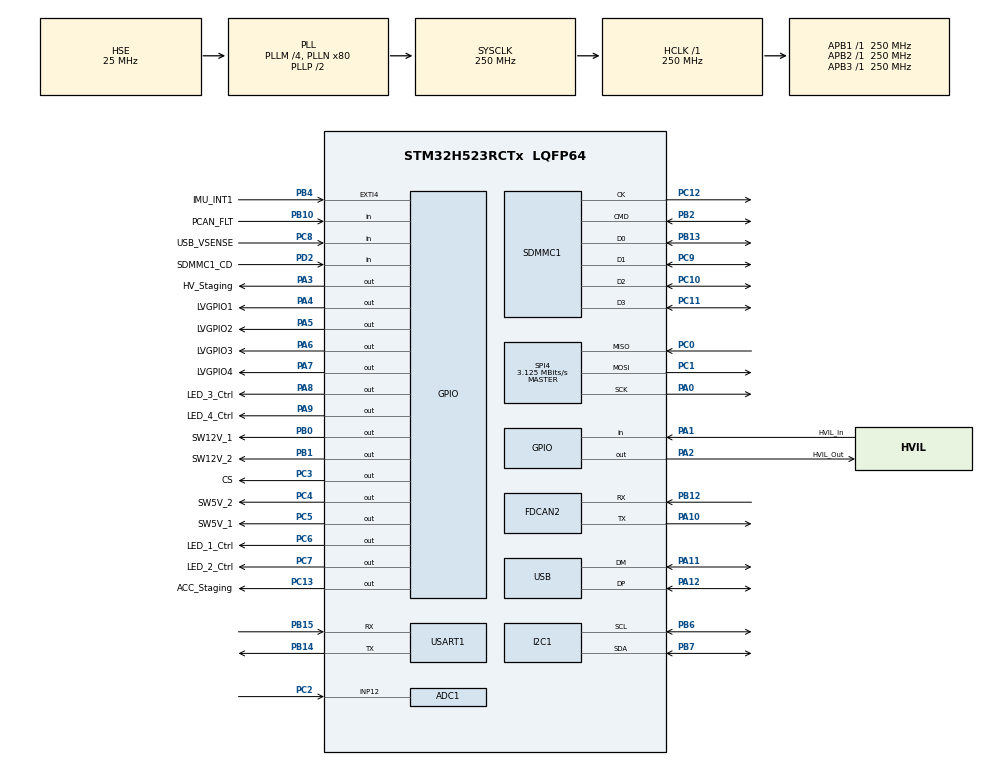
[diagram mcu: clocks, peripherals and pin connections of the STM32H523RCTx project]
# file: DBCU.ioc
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ADC1.Channel-0\#ChannelRegularConversion=ADC_CHANNEL_12
ADC1.MonitoredBy-0\#ChannelRegularConversion=__NULL
ADC1.NbrOfConversionFlag=1
ADC1.OffsetNumber-0\#ChannelRegularConversion=ADC_OFFSET_NONE
ADC1.Rank-0\#ChannelRegularConversion=1
ADC1.SamplingTime-0\#ChannelRegularConversion=ADC_SAMPLETIME_2CYCLES_5
ADC1.master=1
BOOTPATH.BootPathName=LEGACY
BOOTPATH.UserSelectedBootPath=LEGACY
CORTEX_M33_NS.userName=CORTEX_M33
FDCAN2.CalculateBaudRateNominal=500000
FDCAN2.CalculateTimeBitNominal=2000
FDCAN2.CalculateTimeQuantumNominal=200.0
FDCAN2.NominalPrescaler=25
FDCAN2.NominalTimeSeg1=8
FILEX.FX_SD_INTERFACE=1
FILEX.GLUE_FUNCTIONS=DMA_API
I2C1.Timing=0x60808CD3
Mcu.Family=STM32H5
Mcu.Name=STM32H523RCTx
Mcu.Package=LQFP64
NVIC.PriorityGroup=NVIC_PRIORITYGROUP_4
NVIC.SDMMC1_IRQn=true\:0\:0\:false\:false\:true\:true\:true\:true
PA0.Mode=Full_Duplex_Master
PA0.Signal=SPI4_SCK
PA1.GPIO_Label=HVIL_In
PA1.Signal=GPIO_Input
PA10.Mode=FDCAN_Activate
PA10.Signal=FDCAN2_TX
PA11.Mode=Device
PA11.Signal=USB_DM
PA12.Mode=Device
PA12.Signal=USB_DP
PA13(JTMS/SWDIO).Mode=Trace_Asynchronous_SW
PA13(JTMS/SWDIO).Signal=DEBUG_JTMS-SWDIO
PA14(JTCK/SWCLK).Mode=Trace_Asynchronous_SW
PA14(JTCK/SWCLK).Signal=DEBUG_JTCK-SWCLK
PA2.GPIO_Label=HVIL_Out
PA2.Signal=GPIO_Output
PA3.GPIO_Label=HV_Staging
PA3.Signal=GPIO_Output
PA4.GPIO_Label=LVGPIO1
PA4.GPIO_ModeDefaultOutputPP=GPIO_MODE_OUTPUT_OD
PA4.GPIO_PuPd=GPIO_PULLUP
PA4.Signal=GPIO_Output
PA5.GPIO_Label=LVGPIO2
PA5.GPIO_ModeDefaultOutputPP=GPIO_MODE_OUTPUT_OD
PA5.GPIO_PuPd=GPIO_PULLUP
PA5.Signal=GPIO_Output
PA6.GPIO_Label=LVGPIO3
PA6.GPIO_ModeDefaultOutputPP=GPIO_MODE_OUTPUT_OD
PA6.GPIO_PuPd=GPIO_PULLUP
PA6.Signal=GPIO_Output
PA7.GPIO_Label=LVGPIO4
PA7.GPIO_ModeDefaultOutputPP=GPIO_MODE_OUTPUT_OD
PA7.GPIO_PuPd=GPIO_PULLUP
PA7.Signal=GPIO_Output
PA8.GPIO_Label=LED_3_Ctrl
PA8.Signal=GPIO_Output
PA9.GPIO_Label=LED_4_Ctrl
PA9.Signal=GPIO_Output
PB0.GPIO_Label=SW12V_1
PB0.Signal=GPIO_Output
PB1.GPIO_Label=SW12V_2
PB1.Signal=GPIO_Output
PB10.GPIO_Label=PCAN_FLT
PB10.Signal=GPIO_Input
PB12.Mode=FDCAN_Activate
PB12.Signal=FDCAN2_RX
PB13.Mode=SD_4_bits_Wide_bus
PB13.Signal=SDMMC1_D0
PB14.Mode=Asynchronous
PB14.Signal=USART1_TX
PB15.Mode=Asynchronous
PB15.Signal=USART1_RX
PB2.Mode=SD_4_bits_Wide_bus
PB2.Signal=SDMMC1_CMD
PB3(JTDO/TRACESWO).Mode=Trace_Asynchronous_SW
PB3(JTDO/TRACESWO).Signal=DEBUG_JTDO-SWO
PB4(NJTRST).GPIO_Label=IMU_INT1
PB4(NJTRST).Signal=GPXTI4
PB5.GPIO_Label=IMU_INT2
PB5.Signal=EVENTOUT
PB6.Mode=I2C
PB6.Signal=I2C1_SCL
PB7.Mode=I2C
PB7.Signal=I2C1_SDA
PC0.Mode=Full_Duplex_Master
PC0.Signal=SPI4_MISO
PC1.Mode=Full_Duplex_Master
PC1.Signal=SPI4_MOSI
PC10.Mode=SD_4_bits_Wide_bus
PC10.Signal=SDMMC1_D2
PC11.Mode=SD_4_bits_Wide_bus
PC11.Signal=SDMMC1_D3
PC12.Mode=SD_4_bits_Wide_bus
PC12.Signal=SDMMC1_CK
PC13.GPIO_Label=ACC_Staging
PC13.Signal=GPIO_Output
PC14-OSC32_IN(OSC32_IN).Mode=LSE-External-Oscillator
PC14-OSC32_IN(OSC32_IN).Signal=RCC_OSC32_IN
PC15-OSC32_OUT(OSC32_OUT).Mode=LSE-External-Oscillator
PC15-OSC32_OUT(OSC32_OUT).Signal=RCC_OSC32_OUT
PC2.Signal=ADCx_INP12
PC3.GPIO_Label=CS
PC3.Signal=GPIO_Output
PC4.GPIO_Label=SW5V_2
PC4.Signal=GPIO_Output
PC5.GPIO_Label=SW5V_1
PC5.Signal=GPIO_Output
PC6.GPIO_Label=LED_1_Ctrl
PC6.Signal=GPIO_Output
PC7.GPIO_Label=LED_2_Ctrl
PC7.Signal=GPIO_Output
PC8.GPIO_Label=USB_VSENSE
PC8.Signal=GPIO_Input
PC9.Mode=SD_4_bits_Wide_bus
PC9.Signal=SDMMC1_D1
PD2.GPIO_Label=SDMMC1_CD
PD2.Signal=GPIO_Input
PH0-OSC_IN(PH0).Mode=HSE-External-Oscillator
PH0-OSC_IN(PH0).Signal=RCC_OSC_IN
PH1-OSC_OUT(PH1).Mode=HSE-External-Oscillator
PH1-OSC_OUT(PH1).Signal=RCC_OSC_OUT
ProjectManager.HeapSize=0x200
ProjectManager.StackSize=0x400
ProjectManager.TargetToolchain=CMake
RCC.ADCFreq_Value=250000000
RCC.AHBFreq_Value=250000000
RCC.APB1Freq_Value=250000000
RCC.APB1TimFreq_Value=250000000
RCC.APB2Freq_Value=250000000
RCC.APB2TimFreq_Value=250000000
RCC.APB3Freq_Value=250000000
RCC.CSI_VALUE=4000000
RCC.CortexFreq_Value=250000000
RCC.EPOD_VALUE=25000000
RCC.EnbaleCSS=true
RCC.FDCANClockSelection=RCC_FDCANCLKSOURCE_PLL1Q
RCC.HCLKFreq_Value=250000000
RCC.HSE_VALUE=25000000
RCC.HSI48_VALUE=48000000
RCC.HSI_VALUE=64000000
RCC.LSIRC_VALUE=32000
RCC.PLL1Q=4
RCC.PLL2M=8
RCC.PLL2N=164
RCC.PLL2Source=RCC_PLL2_SOURCE_HSE
RCC.PLL3FRACN=0
RCC.PLL3M=25
RCC.PLL3N=144
RCC.PLL3Q=3
RCC.PLL3Source=RCC_PLL3_SOURCE_HSE
RCC.PLLFRACN=0
RCC.PLLM=4
RCC.PLLN=80
RCC.PLLSourceVirtual=RCC_PLL1_SOURCE_HSE
RCC.SPI4CLockSelection=RCC_SPI4CLKSOURCE_HSE
RCC.SYSCLKFreq_VALUE=250000000
RCC.SYSCLKSource=RCC_SYSCLKSOURCE_PLLCLK
RCC.USBCLockSelection=RCC_USBCLKSOURCE_PLL3Q
RCC.USBFreq_Value=48000000
RCC.VCOOutputFreq_Value=500000000
SDMMC1.ClockDiv=512
SH.ADCx_INP12.0=ADC1_INP12,IN12-Single-Ended
SPI4.BaudRatePrescaler=SPI_BAUDRATEPRESCALER_8
SPI4.CalculateBaudRate=3.125 MBits/s
SPI4.Direction=SPI_DIRECTION_2LINES
SPI4.Mode=SPI_MODE_MASTER
SPI4.VirtualType=VM_MASTER
USART1.VirtualMode-Asynchronous=VM_ASYNC
USB.Sof_enable-Device=DISABLE
USB.VirtualMode=Device_Only
USB.lpm_enable=DISABLE
VP_BOOTPATH_VS_BOOTPATH.Mode=BP_Activate
VP_CORTEX_M33_NS_VS_Hclk.Mode=Hclk_Mode
VP_DTS_VS-DTS.Mode=DTS
VP_FILEX_VS_FileOoSystemJjFileXJjCore.Mode=FileX_Core
VP_FILEX_VS_SDOointerface.Mode=SD_interface
VP_ICACHE_VS_ICACHE.Mode=DirectMappedCache
VP_MEMORYMAP_VS_MEMORYMAP.Mode=CurAppReg
VP_PWR_VS_LPOM.Mode=PowerOptimisation
VP_PWR_VS_SECSignals.Mode=Security/Privilege
board=custom

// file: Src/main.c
/* USER CODE BEGIN Header */
/**
 ******************************************************************************
 * @file           : main.c
 * @brief          : Main program body
 ******************************************************************************
 * @attention
 *
 * Copyright (c) 2025 STMicroelectronics.
 * All rights reserved.
 *
 * This software is licensed under terms that can be found in the LICENSE file
 * in the root directory of this software component.
 * If no LICENSE file comes with this software, it is provided AS-IS.
 *
 ******************************************************************************
 */
/* USER CODE END Header */
#include "main.h"
#include "app_filex.h"

/* USER CODE BEGIN Includes */
#include "stm32h5xx_hal_def.h"
#include "stm32h5xx_hal_dts.h"
#include "stm32h5xx_hal_fdcan.h"
#include "stm32h5xx_hal_gpio.h"
// #include "ws2812b.h"
#include "sdcard.h"
/* USER CODE END Includes */

ADC_HandleTypeDef hadc1;

DTS_HandleTypeDef hdts;

FDCAN_HandleTypeDef hfdcan2;

I2C_HandleTypeDef hi2c1;

SD_HandleTypeDef hsd1;

SPI_HandleTypeDef hspi4;

UART_HandleTypeDef huart1;

PCD_HandleTypeDef hpcd_USB_DRD_FS;

/* USER CODE BEGIN PV */
// WS2812B_Handle_t led_strips;

/* USER CODE END PV */

void SystemClock_Config(void);
static void MX_GPIO_Init(void);
static void MX_ADC1_Init(void);
static void MX_FDCAN2_Init(void);
static void MX_I2C1_Init(void);
static void MX_SDMMC1_SD_Init(void);
static void MX_SPI4_Init(void);
static void MX_USART1_UART_Init(void);
static void MX_USB_PCD_Init(void);
static void MX_ICACHE_Init(void);
static void MX_DTS_Init(void);

/* USER CODE BEGIN 0 */
// void HAL_TIM_PWM_PulseFinishedCallback(TIM_HandleTypeDef *htim) {
//     if (htim->Instance == TIM3) {
//         WS2812B_DMA_Complete(&led_strips);
//     }
// }
/* USER CODE END 0 */

int main(void) {

  /* MCU Configuration--------------------------------------------------------*/

  /* Reset of all peripherals, Initializes the Flash interface and the Systick.
   */
  HAL_Init();

  /* Configure the system clock */
  SystemClock_Config();

  /* Initialize all configured peripherals */
  MX_GPIO_Init();
  MX_ADC1_Init();
  MX_FDCAN2_Init();
  MX_I2C1_Init();
  MX_SDMMC1_SD_Init();
  MX_SPI4_Init();
  MX_USART1_UART_Init();
  MX_USB_PCD_Init();
  MX_ICACHE_Init();
  MX_FileX_Init();
  MX_DTS_Init();
  /* USER CODE BEGIN 2 */
  HAL_GPIO_WritePin(LED_1_Ctrl_GPIO_Port, LED_1_Ctrl_Pin, GPIO_PIN_RESET);
  HAL_GPIO_WritePin(LVGPIO1_GPIO_Port, LVGPIO1_Pin, GPIO_PIN_SET);
  HAL_GPIO_WritePin(LVGPIO2_GPIO_Port, LVGPIO2_Pin, GPIO_PIN_SET);
  HAL_GPIO_WritePin(LVGPIO3_GPIO_Port, LVGPIO3_Pin, GPIO_PIN_SET);
  HAL_GPIO_WritePin(LVGPIO4_GPIO_Port, LVGPIO4_Pin, GPIO_PIN_SET);
  // WS2812B_Init(&led_strips, &htim3, TIM_CHANNEL_1, 8);
  // WS2812B_Update(&led_strips);

  // WS2812B_SetAll(&led_strips, 0, 0, 255);
  // WS2812B_Update(&led_strips);
  // WS2812B_WaitComplete(&led_strips, 100);
  HAL_GPIO_WritePin(LED_1_Ctrl_GPIO_Port, LED_1_Ctrl_Pin, GPIO_PIN_SET);
  HAL_FDCAN_Start(&hfdcan2);

  int32_t temp;
  HAL_DTS_GetTemperature(&hdts, &temp);
  /* USER CODE END 2 */

  /* Infinite loop */
  while (1) {

    /* USER CODE BEGIN 3 */
    HAL_GPIO_TogglePin(LED_1_Ctrl_GPIO_Port, LED_1_Ctrl_Pin);

    HAL_Delay(250);
  }
  /* USER CODE END 3 */
}

void SystemClock_Config(void) {
  RCC_OscInitTypeDef RCC_OscInitStruct = {0};
  RCC_ClkInitTypeDef RCC_ClkInitStruct = {0};

  /** Configure the main internal regulator output voltage
   */
  __HAL_PWR_VOLTAGESCALING_CONFIG(PWR_REGULATOR_VOLTAGE_SCALE0);

  while (!__HAL_PWR_GET_FLAG(PWR_FLAG_VOSRDY)) {
  }

  /** Initializes the RCC Oscillators according to the specified parameters
   * in the RCC_OscInitTypeDef structure.
   */
  RCC_OscInitStruct.OscillatorType = RCC_OSCILLATORTYPE_HSE;
  RCC_OscInitStruct.HSEState = RCC_HSE_ON;
  RCC_OscInitStruct.PLL.PLLState = RCC_PLL_ON;
  RCC_OscInitStruct.PLL.PLLSource = RCC_PLL1_SOURCE_HSE;
  RCC_OscInitStruct.PLL.PLLM = 4;
  RCC_OscInitStruct.PLL.PLLN = 80;
  RCC_OscInitStruct.PLL.PLLP = 2;
  RCC_OscInitStruct.PLL.PLLQ = 4;
  RCC_OscInitStruct.PLL.PLLR = 2;
  RCC_OscInitStruct.PLL.PLLRGE = RCC_PLL1_VCIRANGE_2;
  RCC_OscInitStruct.PLL.PLLVCOSEL = RCC_PLL1_VCORANGE_WIDE;
  RCC_OscInitStruct.PLL.PLLFRACN = 0;
  if (HAL_RCC_OscConfig(&RCC_OscInitStruct) != HAL_OK) {
    Error_Handler();
  }

  /** Initializes the CPU, AHB and APB buses clocks
   */
  RCC_ClkInitStruct.ClockType = RCC_CLOCKTYPE_HCLK | RCC_CLOCKTYPE_SYSCLK |
                                RCC_CLOCKTYPE_PCLK1 | RCC_CLOCKTYPE_PCLK2 |
                                RCC_CLOCKTYPE_PCLK3;
  RCC_ClkInitStruct.SYSCLKSource = RCC_SYSCLKSOURCE_PLLCLK;
  RCC_ClkInitStruct.AHBCLKDivider = RCC_SYSCLK_DIV1;
  RCC_ClkInitStruct.APB1CLKDivider = RCC_HCLK_DIV1;
  RCC_ClkInitStruct.APB2CLKDivider = RCC_HCLK_DIV1;
  RCC_ClkInitStruct.APB3CLKDivider = RCC_HCLK_DIV1;

  if (HAL_RCC_ClockConfig(&RCC_ClkInitStruct, FLASH_LATENCY_5) != HAL_OK) {
    Error_Handler();
  }

  /** Enables the Clock Security System
   */
  HAL_RCC_EnableCSS();

  /** Configure the programming delay
   */
  __HAL_FLASH_SET_PROGRAM_DELAY(FLASH_PROGRAMMING_DELAY_2);
}

static void MX_ADC1_Init(void) {

  ADC_ChannelConfTypeDef sConfig = {0};

  /** Common config
   */
  hadc1.Instance = ADC1;
  hadc1.Init.ClockPrescaler = ADC_CLOCK_ASYNC_DIV4;
  hadc1.Init.Resolution = ADC_RESOLUTION_12B;
  hadc1.Init.DataAlign = ADC_DATAALIGN_RIGHT;
  hadc1.Init.ScanConvMode = ADC_SCAN_DISABLE;
  hadc1.Init.EOCSelection = ADC_EOC_SINGLE_CONV;
  hadc1.Init.LowPowerAutoWait = DISABLE;
  hadc1.Init.ContinuousConvMode = DISABLE;
  hadc1.Init.NbrOfConversion = 1;
  hadc1.Init.DiscontinuousConvMode = DISABLE;
  hadc1.Init.ExternalTrigConv = ADC_SOFTWARE_START;
  hadc1.Init.ExternalTrigConvEdge = ADC_EXTERNALTRIGCONVEDGE_NONE;
  hadc1.Init.DMAContinuousRequests = DISABLE;
  hadc1.Init.SamplingMode = ADC_SAMPLING_MODE_NORMAL;
  hadc1.Init.Overrun = ADC_OVR_DATA_PRESERVED;
  hadc1.Init.OversamplingMode = DISABLE;
  if (HAL_ADC_Init(&hadc1) != HAL_OK) {
    Error_Handler();
  }

  /** Configure Regular Channel
   */
  sConfig.Channel = ADC_CHANNEL_12;
  sConfig.Rank = ADC_REGULAR_RANK_1;
  sConfig.SamplingTime = ADC_SAMPLETIME_2CYCLES_5;
  sConfig.SingleDiff = ADC_SINGLE_ENDED;
  sConfig.OffsetNumber = ADC_OFFSET_NONE;
  sConfig.Offset = 0;
  if (HAL_ADC_ConfigChannel(&hadc1, &sConfig) != HAL_OK) {
    Error_Handler();
  }
}

static void MX_DTS_Init(void) {

  hdts.Instance = DTS;
  hdts.Init.QuickMeasure = DTS_QUICKMEAS_DISABLE;
  hdts.Init.RefClock = DTS_REFCLKSEL_PCLK;
  hdts.Init.TriggerInput = DTS_TRIGGER_HW_NONE;
  hdts.Init.SamplingTime = DTS_SMP_TIME_1_CYCLE;
  hdts.Init.Divider = 0;
  hdts.Init.HighThreshold = 0x0;
  hdts.Init.LowThreshold = 0x0;
  if (HAL_DTS_Init(&hdts) != HAL_OK) {
    Error_Handler();
  }
}

static void MX_FDCAN2_Init(void) {

  hfdcan2.Instance = FDCAN2;
  hfdcan2.Init.ClockDivider = FDCAN_CLOCK_DIV1;
  hfdcan2.Init.FrameFormat = FDCAN_FRAME_CLASSIC;
  hfdcan2.Init.Mode = FDCAN_MODE_NORMAL;
  hfdcan2.Init.AutoRetransmission = DISABLE;
  hfdcan2.Init.TransmitPause = DISABLE;
  hfdcan2.Init.ProtocolException = DISABLE;
  hfdcan2.Init.NominalPrescaler = 25;
  hfdcan2.Init.NominalSyncJumpWidth = 1;
  hfdcan2.Init.NominalTimeSeg1 = 8;
  hfdcan2.Init.NominalTimeSeg2 = 1;
  hfdcan2.Init.DataPrescaler = 1;
  hfdcan2.Init.DataSyncJumpWidth = 1;
  hfdcan2.Init.DataTimeSeg1 = 1;
  hfdcan2.Init.DataTimeSeg2 = 1;
  hfdcan2.Init.StdFiltersNbr = 0;
  hfdcan2.Init.ExtFiltersNbr = 0;
  hfdcan2.Init.TxFifoQueueMode = FDCAN_TX_FIFO_OPERATION;
  if (HAL_FDCAN_Init(&hfdcan2) != HAL_OK) {
    Error_Handler();
  }
}

static void MX_I2C1_Init(void) {

  hi2c1.Instance = I2C1;
  hi2c1.Init.Timing = 0x60808CD3;
  hi2c1.Init.OwnAddress1 = 0;
  hi2c1.Init.AddressingMode = I2C_ADDRESSINGMODE_7BIT;
  hi2c1.Init.DualAddressMode = I2C_DUALADDRESS_DISABLE;
  hi2c1.Init.OwnAddress2 = 0;
  hi2c1.Init.OwnAddress2Masks = I2C_OA2_NOMASK;
  hi2c1.Init.GeneralCallMode = I2C_GENERALCALL_DISABLE;
  hi2c1.Init.NoStretchMode = I2C_NOSTRETCH_DISABLE;
  if (HAL_I2C_Init(&hi2c1) != HAL_OK) {
    Error_Handler();
  }

  /** Configure Analogue filter
   */
  if (HAL_I2CEx_ConfigAnalogFilter(&hi2c1, I2C_ANALOGFILTER_ENABLE) != HAL_OK) {
    Error_Handler();
  }

  /** Configure Digital filter
   */
  if (HAL_I2CEx_ConfigDigitalFilter(&hi2c1, 0) != HAL_OK) {
    Error_Handler();
  }
}

static void MX_ICACHE_Init(void) {

  /** Enable instruction cache in 1-way (direct mapped cache)
   */
  if (HAL_ICACHE_ConfigAssociativityMode(ICACHE_1WAY) != HAL_OK) {
    Error_Handler();
  }
  if (HAL_ICACHE_Enable() != HAL_OK) {
    Error_Handler();
  }
}

static void MX_SDMMC1_SD_Init(void) {

  hsd1.Instance = SDMMC1;
  hsd1.Init.ClockEdge = SDMMC_CLOCK_EDGE_RISING;
  hsd1.Init.ClockPowerSave = SDMMC_CLOCK_POWER_SAVE_DISABLE;
  hsd1.Init.BusWide = SDMMC_BUS_WIDE_4B;
  hsd1.Init.HardwareFlowControl = SDMMC_HARDWARE_FLOW_CONTROL_DISABLE;
  hsd1.Init.ClockDiv = 512;
  if (HAL_SD_Init(&hsd1) != HAL_OK) {
    Error_Handler();
  }
}

static void MX_SPI4_Init(void) {

  /* SPI4 parameter configuration*/
  hspi4.Instance = SPI4;
  hspi4.Init.Mode = SPI_MODE_MASTER;
  hspi4.Init.Direction = SPI_DIRECTION_2LINES;
  hspi4.Init.DataSize = SPI_DATASIZE_4BIT;
  hspi4.Init.CLKPolarity = SPI_POLARITY_LOW;
  hspi4.Init.CLKPhase = SPI_PHASE_1EDGE;
  hspi4.Init.NSS = SPI_NSS_SOFT;
  hspi4.Init.BaudRatePrescaler = SPI_BAUDRATEPRESCALER_8;
  hspi4.Init.FirstBit = SPI_FIRSTBIT_MSB;
  hspi4.Init.TIMode = SPI_TIMODE_DISABLE;
  hspi4.Init.CRCCalculation = SPI_CRCCALCULATION_DISABLE;
  hspi4.Init.CRCPolynomial = 0x7;
  hspi4.Init.NSSPMode = SPI_NSS_PULSE_ENABLE;
  hspi4.Init.NSSPolarity = SPI_NSS_POLARITY_LOW;
  hspi4.Init.FifoThreshold = SPI_FIFO_THRESHOLD_01DATA;
  hspi4.Init.MasterSSIdleness = SPI_MASTER_SS_IDLENESS_00CYCLE;
  hspi4.Init.MasterInterDataIdleness = SPI_MASTER_INTERDATA_IDLENESS_00CYCLE;
  hspi4.Init.MasterReceiverAutoSusp = SPI_MASTER_RX_AUTOSUSP_DISABLE;
  hspi4.Init.MasterKeepIOState = SPI_MASTER_KEEP_IO_STATE_DISABLE;
  hspi4.Init.IOSwap = SPI_IO_SWAP_DISABLE;
  hspi4.Init.ReadyMasterManagement = SPI_RDY_MASTER_MANAGEMENT_INTERNALLY;
  hspi4.Init.ReadyPolarity = SPI_RDY_POLARITY_HIGH;
  if (HAL_SPI_Init(&hspi4) != HAL_OK) {
    Error_Handler();
  }
}

static void MX_USART1_UART_Init(void) {

  huart1.Instance = USART1;
  huart1.Init.BaudRate = 115200;
  huart1.Init.WordLength = UART_WORDLENGTH_8B;
  huart1.Init.StopBits = UART_STOPBITS_1;
  huart1.Init.Parity = UART_PARITY_NONE;
  huart1.Init.Mode = UART_MODE_TX_RX;
  huart1.Init.HwFlowCtl = UART_HWCONTROL_NONE;
  huart1.Init.OverSampling = UART_OVERSAMPLING_16;
  huart1.Init.OneBitSampling = UART_ONE_BIT_SAMPLE_DISABLE;
  huart1.Init.ClockPrescaler = UART_PRESCALER_DIV1;
  huart1.AdvancedInit.AdvFeatureInit = UART_ADVFEATURE_NO_INIT;
  if (HAL_UART_Init(&huart1) != HAL_OK) {
    Error_Handler();
  }
  if (HAL_UARTEx_SetTxFifoThreshold(&huart1, UART_TXFIFO_THRESHOLD_1_8) !=
      HAL_OK) {
    Error_Handler();
  }
  if (HAL_UARTEx_SetRxFifoThreshold(&huart1, UART_RXFIFO_THRESHOLD_1_8) !=
      HAL_OK) {
    Error_Handler();
  }
  if (HAL_UARTEx_DisableFifoMode(&huart1) != HAL_OK) {
    Error_Handler();
  }
}

static void MX_USB_PCD_Init(void) {

  hpcd_USB_DRD_FS.Instance = USB_DRD_FS;
  hpcd_USB_DRD_FS.Init.dev_endpoints = 8;
  hpcd_USB_DRD_FS.Init.speed = USBD_FS_SPEED;
  hpcd_USB_DRD_FS.Init.phy_itface = PCD_PHY_EMBEDDED;
  hpcd_USB_DRD_FS.Init.Sof_enable = DISABLE;
  hpcd_USB_DRD_FS.Init.low_power_enable = DISABLE;
  hpcd_USB_DRD_FS.Init.lpm_enable = DISABLE;
  hpcd_USB_DRD_FS.Init.battery_charging_enable = DISABLE;
  hpcd_USB_DRD_FS.Init.vbus_sensing_enable = DISABLE;
  hpcd_USB_DRD_FS.Init.bulk_doublebuffer_enable = DISABLE;
  hpcd_USB_DRD_FS.Init.iso_singlebuffer_enable = DISABLE;
  if (HAL_PCD_Init(&hpcd_USB_DRD_FS) != HAL_OK) {
    Error_Handler();
  }
}

static void MX_GPIO_Init(void) {
  GPIO_InitTypeDef GPIO_InitStruct = {0};

  /* GPIO Ports Clock Enable */
  __HAL_RCC_GPIOC_CLK_ENABLE();
  __HAL_RCC_GPIOH_CLK_ENABLE();
  __HAL_RCC_GPIOA_CLK_ENABLE();
  __HAL_RCC_GPIOB_CLK_ENABLE();
  __HAL_RCC_GPIOD_CLK_ENABLE();

  /*Configure GPIO pin Output Level */
  HAL_GPIO_WritePin(GPIOC,
                    ACC_Staging_Pin | CS_Pin | SW5V_2_Pin | SW5V_1_Pin |
                        LED_1_Ctrl_Pin | LED_2_Ctrl_Pin,
                    GPIO_PIN_RESET);

  /*Configure GPIO pin Output Level */
  HAL_GPIO_WritePin(GPIOA,
                    HVIL_Out_Pin | HV_Staging_Pin | LVGPIO1_Pin | LVGPIO2_Pin |
                        LVGPIO3_Pin | LVGPIO4_Pin | LED_3_Ctrl_Pin |
                        LED_4_Ctrl_Pin,
                    GPIO_PIN_RESET);

  /*Configure GPIO pin Output Level */
  HAL_GPIO_WritePin(GPIOB, SW12V_1_Pin | SW12V_2_Pin, GPIO_PIN_RESET);

  /*Configure GPIO pins : ACC_Staging_Pin CS_Pin SW5V_2_Pin SW5V_1_Pin
                           LED_1_Ctrl_Pin LED_2_Ctrl_Pin */
  GPIO_InitStruct.Pin = ACC_Staging_Pin | CS_Pin | SW5V_2_Pin | SW5V_1_Pin |
                        LED_1_Ctrl_Pin | LED_2_Ctrl_Pin;
  GPIO_InitStruct.Mode = GPIO_MODE_OUTPUT_PP;
  GPIO_InitStruct.Pull = GPIO_NOPULL;
  GPIO_InitStruct.Speed = GPIO_SPEED_FREQ_LOW;
  HAL_GPIO_Init(GPIOC, &GPIO_InitStruct);

  /*Configure GPIO pin : HVIL_In_Pin */
  GPIO_InitStruct.Pin = HVIL_In_Pin;
  GPIO_InitStruct.Mode = GPIO_MODE_INPUT;
  GPIO_InitStruct.Pull = GPIO_NOPULL;
  HAL_GPIO_Init(HVIL_In_GPIO_Port, &GPIO_InitStruct);

  /*Configure GPIO pins : HVIL_Out_Pin HV_Staging_Pin LED_3_Ctrl_Pin
   * LED_4_Ctrl_Pin */
  GPIO_InitStruct.Pin =
      HVIL_Out_Pin | HV_Staging_Pin | LED_3_Ctrl_Pin | LED_4_Ctrl_Pin;
  GPIO_InitStruct.Mode = GPIO_MODE_OUTPUT_PP;
  GPIO_InitStruct.Pull = GPIO_NOPULL;
  GPIO_InitStruct.Speed = GPIO_SPEED_FREQ_LOW;
  HAL_GPIO_Init(GPIOA, &GPIO_InitStruct);

  /*Configure GPIO pins : LVGPIO1_Pin LVGPIO2_Pin LVGPIO3_Pin LVGPIO4_Pin */
  GPIO_InitStruct.Pin = LVGPIO1_Pin | LVGPIO2_Pin | LVGPIO3_Pin | LVGPIO4_Pin;
  GPIO_InitStruct.Mode = GPIO_MODE_OUTPUT_OD;
  GPIO_InitStruct.Pull = GPIO_PULLUP;
  GPIO_InitStruct.Speed = GPIO_SPEED_FREQ_LOW;
  HAL_GPIO_Init(GPIOA, &GPIO_InitStruct);

  /*Configure GPIO pins : SW12V_1_Pin SW12V_2_Pin */
  GPIO_InitStruct.Pin = SW12V_1_Pin | SW12V_2_Pin;
  GPIO_InitStruct.Mode = GPIO_MODE_OUTPUT_PP;
  GPIO_InitStruct.Pull = GPIO_NOPULL;
  GPIO_InitStruct.Speed = GPIO_SPEED_FREQ_LOW;
  HAL_GPIO_Init(GPIOB, &GPIO_InitStruct);

  /*Configure GPIO pin : PCAN_FLT_Pin */
  GPIO_InitStruct.Pin = PCAN_FLT_Pin;
  GPIO_InitStruct.Mode = GPIO_MODE_INPUT;
  GPIO_InitStruct.Pull = GPIO_NOPULL;
  HAL_GPIO_Init(PCAN_FLT_GPIO_Port, &GPIO_InitStruct);

  /*Configure GPIO pin : USB_VSENSE_Pin */
  GPIO_InitStruct.Pin = USB_VSENSE_Pin;
  GPIO_InitStruct.Mode = GPIO_MODE_INPUT;
  GPIO_InitStruct.Pull = GPIO_NOPULL;
  HAL_GPIO_Init(USB_VSENSE_GPIO_Port, &GPIO_InitStruct);

  /*Configure GPIO pin : SDMMC1_CD_Pin */
  GPIO_InitStruct.Pin = SDMMC1_CD_Pin;
  GPIO_InitStruct.Mode = GPIO_MODE_INPUT;
  GPIO_InitStruct.Pull = GPIO_NOPULL;
  HAL_GPIO_Init(SDMMC1_CD_GPIO_Port, &GPIO_InitStruct);

  /*Configure GPIO pin : IMU_INT1_Pin */
  GPIO_InitStruct.Pin = IMU_INT1_Pin;
  GPIO_InitStruct.Mode = GPIO_MODE_IT_RISING;
  GPIO_InitStruct.Pull = GPIO_NOPULL;
  HAL_GPIO_Init(IMU_INT1_GPIO_Port, &GPIO_InitStruct);

  /*Configure GPIO pin : IMU_INT2_Pin */
  GPIO_InitStruct.Pin = IMU_INT2_Pin;
  GPIO_InitStruct.Mode = GPIO_MODE_AF_PP;
  GPIO_InitStruct.Pull = GPIO_NOPULL;
  GPIO_InitStruct.Speed = GPIO_SPEED_FREQ_LOW;
  GPIO_InitStruct.Alternate = GPIO_AF15_EVENTOUT;
  HAL_GPIO_Init(IMU_INT2_GPIO_Port, &GPIO_InitStruct);

}

void Error_Handler(void) {
  __disable_irq();
  while (1) {
  }
}
#ifdef USE_FULL_ASSERT
/**
 * @brief  Reports the name of the source file and the source line number
 *         where the assert_param error has occurred.
 * @param  file: pointer to the source file name
 * @param  line: assert_param error line source number
 * @retval None
 */
void assert_failed(uint8_t *file, uint32_t line) {
  /* USER CODE BEGIN 6 */
  /* User can add his own implementation to report the file name and line
     number, ex: printf("Wrong parameters value: file %s on line %d\r\n", file,
     line) */
  /* USER CODE END 6 */
}
#endif /* USE_FULL_ASSERT */
